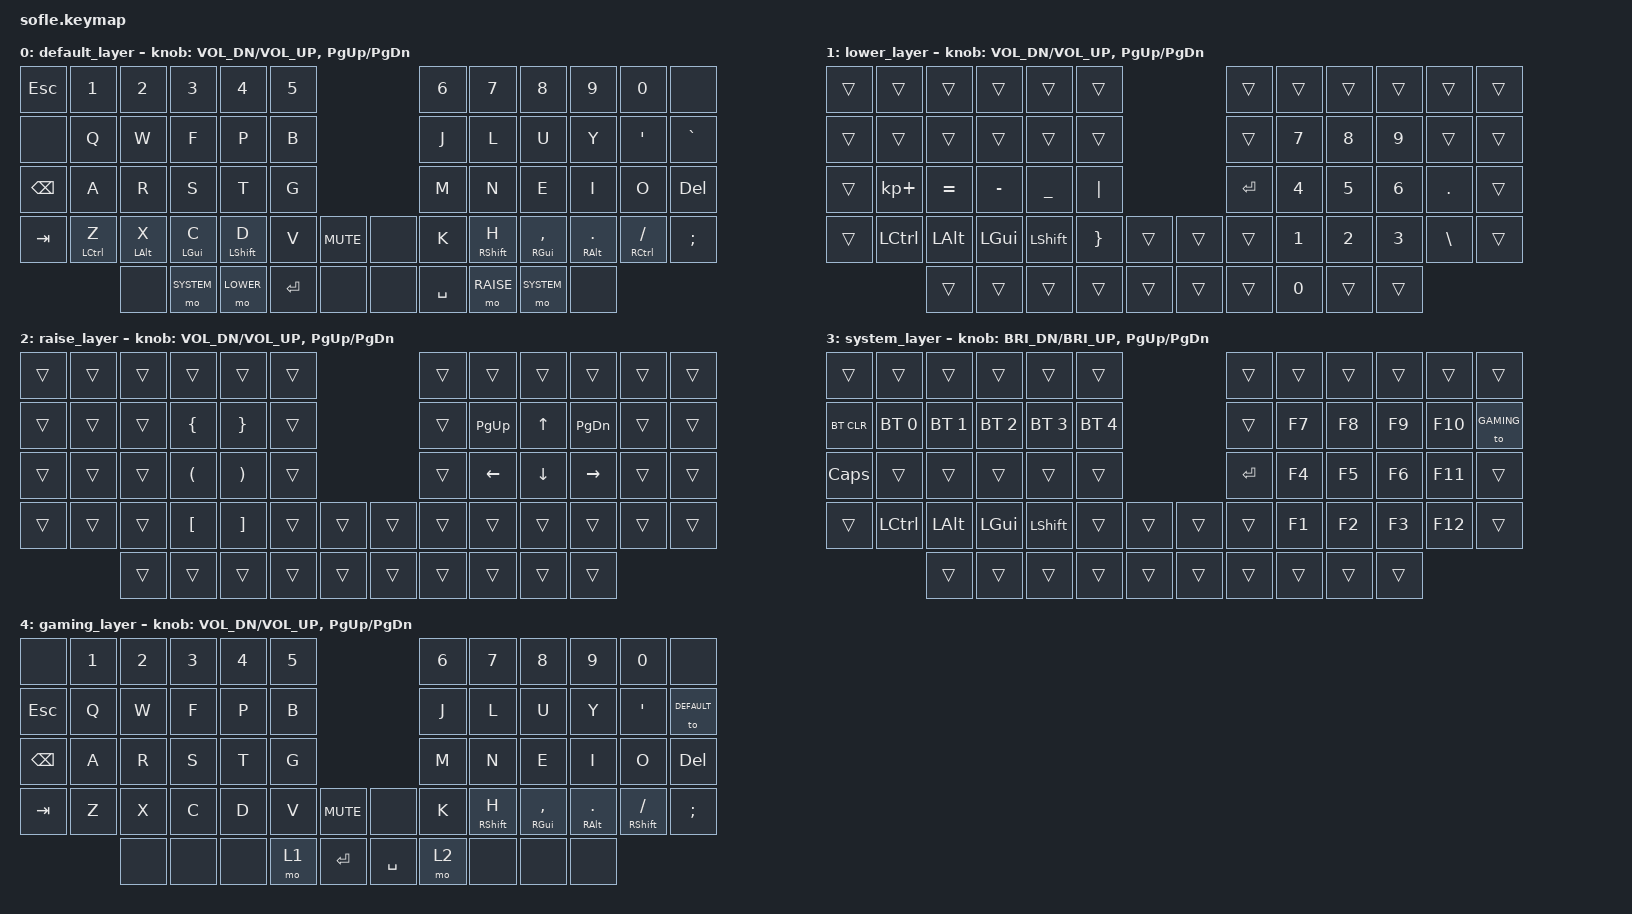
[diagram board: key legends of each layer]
/*
 * Copyright (c) 2020 The ZMK Contributors
 *
 * SPDX-License-Identifier: MIT
 */

#include <behaviors.dtsi>
#include <dt-bindings/zmk/keys.h>
#include <dt-bindings/zmk/bt.h>

#define DEFAULT 0
#define LOWER 1
#define RAISE 2
#define SYSTEM 3
#define GAMING 4

/ {
    behaviors {
        bhm: balanced_homerow_mods {
            compatible = "zmk,behavior-hold-tap";
            label = "HOMEROW_MODS";
            #binding-cells = <2>;
            tapping-term-ms = <200>;    // <---[[moderate duration]]
            quick-tap-ms = <0>;
            flavor = "balanced";
	    retro-tap;
            bindings = <&kp>, <&kp>;
        };
    };

    keymap {
        compatible = "zmk,keymap";

        default_layer {
// ------------------------------------------------------------------------------------------------------------
// |  ESC  |  1   |  2   |  3   |  4   |  5   |                   |  6   |  7    |  8    |  9   |   0   |       |
// |       |  Q   |  W   |  F   |  P   |  B   |                   |  J   |  L    |  U    |  Y   |   '   |   `   |
// | BKSPC |  A   |  R   |  S   |  T   |  G   |                   |  M   |  N    |  E    |  I   |   O   |  DEL  |
// |  TAB  | Z (C)| X (A)| C (G)| D (S)|  V   |  MUTE  |  |       |  K   |  H    |  ,    |  .   |   /   |   ;   |
//                |      |  SYS | LOWER| ENTER|        |  |       | SPACE| RAISE |  SYS  |      |
            bindings = <
&kp ESC   &kp N1       &kp N2       &kp N3       &kp N4        &kp N5                      &kp N6     &kp N7        &kp N8           &kp N9         &kp N0           &none
&none     &kp Q        &kp W        &kp F        &kp P         &kp B                       &kp J      &kp L         &kp U            &kp Y          &kp SQT          &kp GRAVE
&kp BSPC  &kp A        &kp R        &kp S        &kp T         &kp G                       &kp M      &kp N         &kp E            &kp I          &kp O            &kp DEL
&kp TAB   &bhm LCTRL Z &bhm LALT X  &bhm LGUI C  &bhm LSHFT D  &kp V    &kp C_MUTE  &none  &kp K      &bhm RSHFT H  &bhm RGUI COMMA  &bhm RALT DOT  &bhm RCTRL FSLH  &kp SEMI
                       &none        &mo SYSTEM   &mo LOWER     &kp RET  &none       &none  &kp SPACE  &mo RAISE     &mo SYSTEM       &none
            >;

            sensor-bindings = <&inc_dec_kp C_VOL_DN C_VOL_UP &inc_dec_kp PG_UP PG_DN>;
        };

        lower_layer {
// ------------------------------------------------------------------------------------------------------------
// |     |     |     |      |      |     |                   |     |       |       |      |     |     |
// |     |     |     |      |      |     |                   |     |   7   |   8   |  9   |     |     |
// |     |  +  |  =  |  -   |  _   |  |  |                   | RET |   4   |   5   |  6   |  .  |     |
// |     | CTRL| ALT | GUI  | SHFT |     |        |  |       |     |   1   |   2   |  3   |  \  |     |
//             |     |      |      |     |        |  |       |     |   0   |       |      |
            bindings = <
&trans  &trans       &trans     &trans     &trans          &trans                      &trans       &trans  &trans  &trans  &trans    &trans
&trans  &trans       &trans     &trans     &trans          &trans                      &trans       &kp N7  &kp N8  &kp N9  &trans    &trans
&trans  &kp KP_PLUS  &kp EQUAL  &kp MINUS  &kp UNDERSCORE  &kp PIPE                    &kp RET      &kp N4  &kp N5  &kp N6  &kp DOT   &trans
&trans  &kp LCTRL    &kp LALT   &kp LGUI   &kp LSHFT       &kp RBRC  &trans    &trans  &trans       &kp N1  &kp N2  &kp N3  &kp BSLH  &trans
                     &trans     &trans     &trans          &trans   &trans    &trans &trans   &kp N0  &trans  &trans
            >;

            sensor-bindings = <&inc_dec_kp C_VOL_DN C_VOL_UP &inc_dec_kp PG_UP PG_DN>;
        };

        raise_layer {
// ------------------------------------------------------------------------------------------------------------
// |   |   |   |   |   |     |                |   |      |     |      |   |   |
// |   |   |   | { | } |     |                |   | PGUP |  ^  | PGDN |   |   |
// |   |   |   | ( | ) |     |                |   |  <-  |  v  |  ->  |   |   |
// |   |   |   | [ | ] |     |     |------|   |   |      |     |      |   |   |
//         |   |   |   |     |     |------|   |   |      |     |      |
            bindings = <
&trans  &trans  &trans  &trans    &trans    &trans                       &trans  &trans     &trans   &trans     &trans  &trans
&trans  &trans  &trans  &kp LBRC  &kp RBRC  &trans                       &trans  &kp PG_UP  &kp UP   &kp PG_DN  &trans  &trans
&trans  &trans  &trans  &kp LPAR  &kp RPAR  &trans                       &trans  &kp LEFT   &kp DOWN &kp RIGHT  &trans  &trans
&trans  &trans  &trans  &kp LBKT  &kp RBKT  &trans      &trans   &trans  &trans  &trans     &trans   &trans     &trans  &trans
                &trans  &trans    &trans    &trans &trans    &trans  &trans  &trans     &trans   &trans
            >;

            sensor-bindings = <&inc_dec_kp C_VOL_DN C_VOL_UP &inc_dec_kp PG_UP PG_DN>;
        };

        system_layer {
// ------------------------------------------------------------------------------------------------------------
// |     |      |     |     |      |     |                       |      |    |    |    |     |      |
// |BTCLR| BT0  | BT1 | BT2 | BT3  | BT4 |                       | HOME | F7 | F8 | F9 | F10 | GAME |
// |CAPS |      |     |     |      |     |                       | END  | F4 | F5 | F6 | F11 |      |
// |     | CTRL | ALT | GUI | SHFT |     |        |------|       | INS  | F1 | F2 | F3 | F12 |      |
//              |     |     |      |     |        |------|       |      |    |    |    |
            bindings = <
&trans      &trans        &trans        &trans        &trans        &trans                        &trans   &trans  &trans  &trans  &trans   &trans
&bt BT_CLR  &bt BT_SEL 0  &bt BT_SEL 1  &bt BT_SEL 2  &bt BT_SEL 3  &bt BT_SEL 4                  &trans   &kp F7  &kp F8  &kp F9  &kp F10  &to GAMING
&kp CLCK    &trans        &trans        &trans        &trans        &trans                        &kp RET  &kp F4  &kp F5  &kp F6  &kp F11  &trans
&trans      &kp LCTRL     &kp LALT      &kp LGUI      &kp LSHFT     &trans        &trans  &trans  &trans   &kp F1  &kp F2  &kp F3  &kp F12  &trans
                          &trans        &trans        &trans        &trans        &trans  &trans  &trans  &trans  &trans  &trans
            >;

            sensor-bindings = <&inc_dec_kp C_BRI_DN C_BRI_UP &inc_dec_kp PG_UP PG_DN>;
        };

        gaming_layer {
// ------------------------------------------------------------------------------------------------------------
// |       |  1  |  2  |  3  |  4  |  5   |                   |  6   |  7    |  8    |  9   |   0   |       |
// |  ESC  |  Q  |  W  |  F  |  P  |  B   |                   |  J   |  L    |  U    |  Y   |   '   |  DEFAULT   |
// | BKSPC |  A  |  R  |  S  |  T  |  G   |                   |  M   |  N    |  E    |  I   |   O   |  DEL  |
// |  TAB  |  Z  |  X  |  C  |  D  |  V   |  MUTE  |  |       |  K   |  H    |  ,    |  .   |   /   |   ;   |
//               |     |     |     | LOWER|  ENTER |  | SPACE | RAISE| CTRL  | ALT   | GUI  |
            bindings = <
&none     &kp N1      &kp N2      &kp N3     &kp N4      &kp N5                          &kp N6 &kp N7      &kp N8         &kp N9       &kp N0         &none
&kp ESC   &kp Q       &kp W       &kp F      &kp P       &kp B                           &kp J  &kp L       &kp U          &kp Y        &kp SQT        &to DEFAULT
&kp BSPC  &kp A       &kp R       &kp S      &kp T       &kp G                           &kp M  &kp N       &kp E          &kp I        &kp O          &kp DEL
&kp TAB   &kp Z       &kp X       &kp C      &kp D       &kp V  &kp C_MUTE     &none     &kp K  &mt RSHFT H &mt RGUI COMMA &mt RALT DOT &mt RSHFT FSLH &kp SEMI
                      &none       &none      &none       &mo 1  &kp RET        &kp SPACE &mo 2  &none       &none          &none
            >;

            sensor-bindings = <&inc_dec_kp C_VOL_DN C_VOL_UP &inc_dec_kp PG_UP PG_DN>;
        };
    };
};
